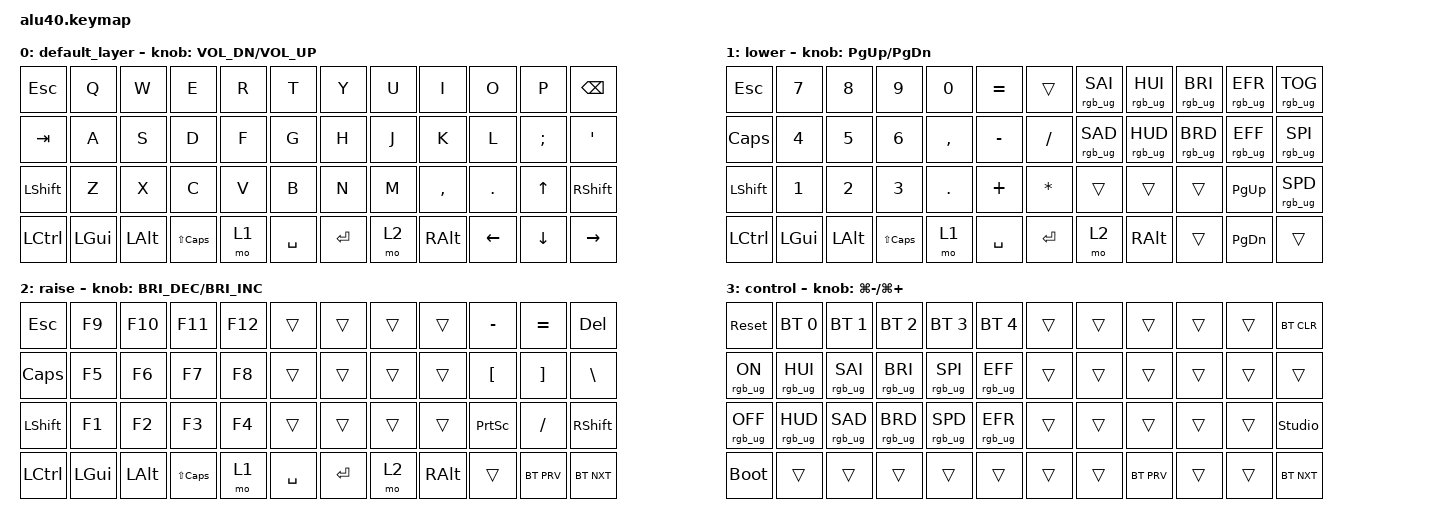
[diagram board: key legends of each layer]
/*
 * Copyright (c) 2022 The ZMK Contributors
 *
 * SPDX-License-Identifier: MIT
 */

#include <behaviors.dtsi>
#include <dt-bindings/zmk/bt.h>
#include <dt-bindings/zmk/keys.h>
#include <dt-bindings/zmk/rgb.h>

/ {
    keymap {
        compatible = "zmk,keymap";

        default_layer {
            // -----------------------------------------------------------------------------------------
            // | ESC/~ |  Q   |  W   |  E   |  R   |  T   |   Y   |  U    |  I   |  O   |   P   | BSPC  |
            // | TAB   |  A   |  S   |  D   |  F   |  G   |   H   |  J    |  K   |  L   |   ;   |  '    |
            // | SHIFT |  Z   |  X   |  C   |  V   |  B   |   N   |  M    |  ,   |  .   |   /   |RET/SFT|
            // | PLAY  | LCTL | LALT | LGUI | LOWR |     SPACE    |  RAIS | LARW | UARW | DARW  |  RARW |

            bindings = <
&kp ESC    &kp Q     &kp W     &kp E         &kp R  &kp T      &kp Y      &kp U  &kp I      &kp O     &kp P     &kp BSPC
&kp TAB    &kp A     &kp S     &kp D         &kp F  &kp G      &kp H      &kp J  &kp K      &kp L     &kp SEMI  &kp SQT
&kp LSHFT  &kp Z     &kp X     &kp C         &kp V  &kp B      &kp N      &kp M  &kp COMMA  &kp DOT   &kp UP    &kp RSHFT
&kp LCTRL  &kp LGUI  &kp LALT  &kp LS(CAPS)  &mo 1  &kp SPACE  &kp ENTER  &mo 2  &kp RALT   &kp LEFT  &kp DOWN  &kp RIGHT
            >;

            sensor-bindings = <&inc_dec_kp C_VOL_DN C_VOL_UP>;
        };

        lower {
            bindings = <
&kp ESC    &kp N7    &kp N8    &kp N9        &kp N0     &kp EQUAL  &trans     &rgb_ug RGB_SAI  &rgb_ug RGB_HUI  &rgb_ug RGB_BRI  &rgb_ug RGB_EFR  &rgb_ug RGB_TOG
&kp CAPS   &kp N4    &kp N5    &kp N6        &kp COMMA  &kp MINUS  &kp SLASH  &rgb_ug RGB_SAD  &rgb_ug RGB_HUD  &rgb_ug RGB_BRD  &rgb_ug RGB_EFF  &rgb_ug RGB_SPI
&kp LSHFT  &kp N1    &kp N2    &kp N3        &kp DOT    &kp PLUS   &kp ASTRK  &trans           &trans           &trans           &kp PAGE_UP      &rgb_ug RGB_SPD
&kp LCTRL  &kp LGUI  &kp LALT  &kp LS(CAPS)  &mo 1      &kp SPACE  &kp ENTER  &mo 2            &kp RALT         &trans           &kp PAGE_DOWN    &trans
            >;

            sensor-bindings = <&inc_dec_kp PG_UP PG_DN>;
        };

        raise {
            bindings = <
&kp ESC    &kp F9    &kp F10   &kp F11       &kp F12  &trans     &trans     &trans  &trans    &kp MINUS        &kp EQUAL   &kp DEL
&kp CAPS   &kp F5    &kp F6    &kp F7        &kp F8   &trans     &trans     &trans  &trans    &kp LBKT         &kp RBKT    &kp BSLH
&kp LSHFT  &kp F1    &kp F2    &kp F3        &kp F4   &trans     &trans     &trans  &trans    &kp PRINTSCREEN  &kp SLASH   &kp RSHFT
&kp LCTRL  &kp LGUI  &kp LALT  &kp LS(CAPS)  &mo 1    &kp SPACE  &kp ENTER  &mo 2   &kp RALT  &trans           &bt BT_PRV  &bt BT_NXT
            >;

            sensor-bindings = <&inc_dec_kp C_BRI_DEC C_BRI_INC>;
        };

        control {
            bindings = <
&sys_reset       &bt BT_SEL 0     &bt BT_SEL 1     &bt BT_SEL 2     &bt BT_SEL 3     &bt BT_SEL 4     &trans  &trans  &trans      &trans  &trans  &bt BT_CLR
&rgb_ug RGB_ON   &rgb_ug RGB_HUI  &rgb_ug RGB_SAI  &rgb_ug RGB_BRI  &rgb_ug RGB_SPI  &rgb_ug RGB_EFF  &trans  &trans  &trans      &trans  &trans  &trans
&rgb_ug RGB_OFF  &rgb_ug RGB_HUD  &rgb_ug RGB_SAD  &rgb_ug RGB_BRD  &rgb_ug RGB_SPD  &rgb_ug RGB_EFR  &trans  &trans  &trans      &trans  &trans  &studio_unlock
&bootloader      &trans           &trans           &trans           &trans           &trans           &trans  &trans  &bt BT_PRV  &trans  &trans  &bt BT_NXT
            >;

            sensor-bindings = <&inc_dec_kp LG(MINUS) LG(PLUS)>;
        };

        extra1 { status = "reserved"; };

        extra2 { status = "reserved"; };

        extra3 { status = "reserved"; };

        extra4 { status = "reserved"; };
    };
};
